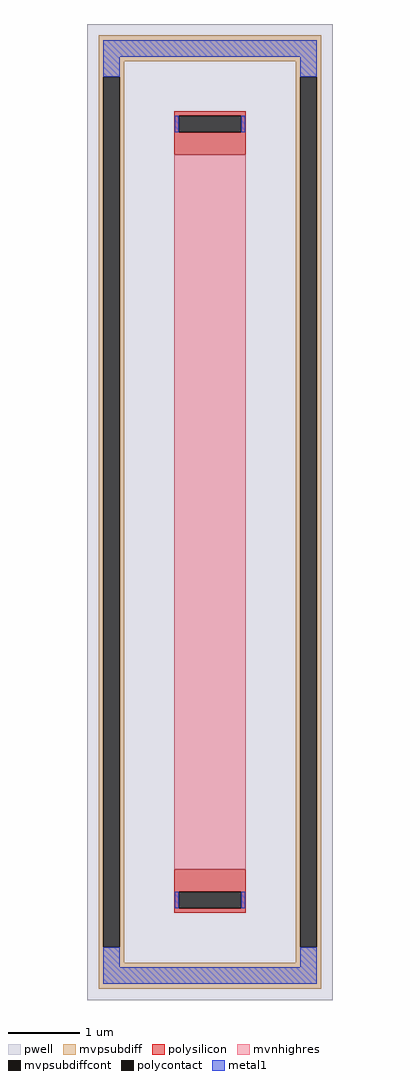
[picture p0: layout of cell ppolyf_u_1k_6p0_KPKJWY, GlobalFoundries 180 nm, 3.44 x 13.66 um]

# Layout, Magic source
magic
tech gf180mcuD
magscale 1 10
<< pwell >>
rect -344 -1366 344 1366
<< mvpsubdiff >>
rect -312 1262 312 1334
rect -312 1218 -240 1262
rect -312 -1218 -299 1218
rect -253 -1218 -240 1218
rect 240 1218 312 1262
rect -312 -1262 -240 -1218
rect 240 -1218 253 1218
rect 299 -1218 312 1218
rect 240 -1262 312 -1218
rect -312 -1334 312 -1262
<< mvpsubdiffcont >>
rect -299 -1218 -253 1218
rect 253 -1218 299 1218
<< polysilicon >>
rect -100 1109 100 1122
rect -100 1063 -87 1109
rect 87 1063 100 1109
rect -100 1000 100 1063
rect -100 -1063 100 -1000
rect -100 -1109 -87 -1063
rect 87 -1109 100 -1063
rect -100 -1122 100 -1109
<< polycontact >>
rect -87 1063 87 1109
rect -87 -1109 87 -1063
<< mvnhighres >>
rect -100 -1000 100 1000
<< metal1 >>
rect -299 1275 299 1321
rect -299 1218 -253 1275
rect 253 1218 299 1275
rect -98 1063 -87 1109
rect 87 1063 98 1109
rect -98 -1109 -87 -1063
rect 87 -1109 98 -1063
rect -299 -1275 -253 -1218
rect 253 -1275 299 -1218
rect -299 -1321 299 -1275
<< properties >>
string FIXED_BBOX -276 -1298 276 1298
string gencell ppolyf_u_1k_6p0
string library gf180mcu
string parameters w 1.0 l 10.0 m 1 nx 1 wmin 1.000 lmin 1.000 class resistor rho 1000 val 10.0k dummy 0 dw 0.0 term 0.0 sterm 0.0 caplen 0.4 snake 0 glc 1 grc 1 gtc 0 gbc 0 roverlap 0 endcov 100 full_metal 1 compatible {ppolyf_u_1k ppolyf_u_1k_6p0}
<< end >>
